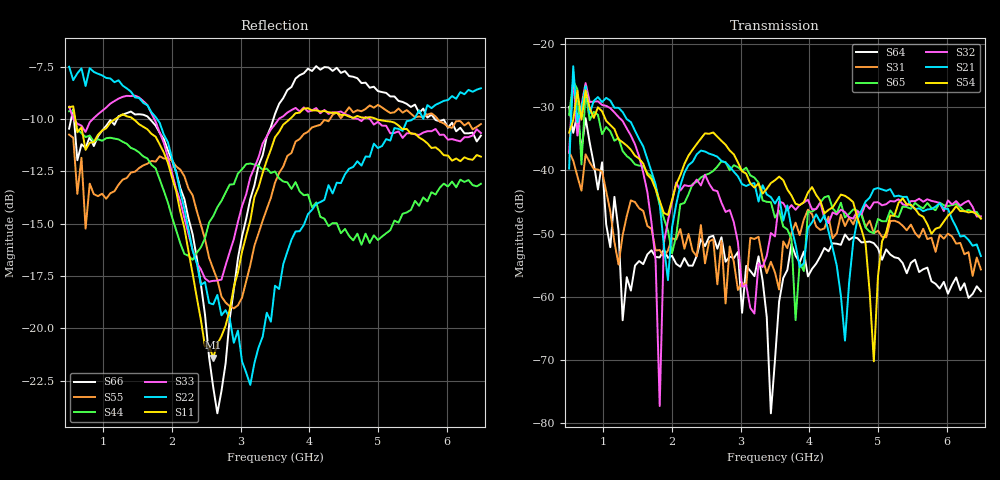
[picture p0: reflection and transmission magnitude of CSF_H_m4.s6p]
!Keysight Technologies,M9804A,MY58100912,A.14.10.03
!Date: Thursday, April 27, 2023 10:28:33
!Correction: S11(C  6-Port  )
!S12(C  6-Port  )
!S13(C  6-Port  )
!S14(C  6-Port  )
!S15(C  6-Port  )
!S16(C  6-Port  )
!S21(C  6-Port  )
!S22(C  6-Port  )
!S23(C  6-Port  )
!S24(C  6-Port  )
!S25(C  6-Port  )
!S26(C  6-Port  )
!S31(C  6-Port  )
!S32(C  6-Port  )
!S33(C  6-Port  )
!S34(C  6-Port  )
!S35(C  6-Port  )
!S36(C  6-Port  )
!S41(C  6-Port  )
!S42(C  6-Port  )
!S43(C  6-Port  )
!S44(C  6-Port  )
!S45(C  6-Port  )
!S46(C  6-Port  )
!S51(C  6-Port  )
!S52(C  6-Port  )
!S53(C  6-Port  )
!S54(C  6-Port  )
!S55(C  6-Port  )
!S56(C  6-Port  )
!S61(C  6-Port  )
!S62(C  6-Port  )
!S63(C  6-Port  )
!S64(C  6-Port  )
!S65(C  6-Port  )
!S66(C  6-Port  )
!S6P File: Measurement: :
# Hz S  RI  R 50
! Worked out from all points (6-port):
!   101 points, 500 MHz to 6.5 GHz, reference 50 ohm
!   strongest paths, dB at 500 MHz, 2 GHz, 3.5 GHz, 5 GHz, 6.5 GHz:
!     S54: -34.0, -44.7, -41.5, -56.8, -47.6
!     S21: -39.7, -49.0, -45.2, -42.8, -53.5
!     S32: -37.2, -44.9, -50.4, -45.0, -47.2
!     S65: -31.2, -53.1, -47.5, -47.7, -47.6
!     S31: -37.0, -50.7, -56.2, -49.5, -55.7
!     S64: -30.0, -53.5, -69.9, -52.3, -59.1
!   lowest |S11| = -21.4 dB at 2.6 GHz (marker M1), VSWR 1.19, Z = 42.4 + j2.2 ohm
!   |S11| at or under -10 dB: 589.8 MHz to 1.169 GHz (579.3 MHz wide, 65.9 % of centre); 1.439 GHz to 3.713 GHz (2.275 GHz wide, 88.3 % of centre); 4.983 GHz to end of sweep
